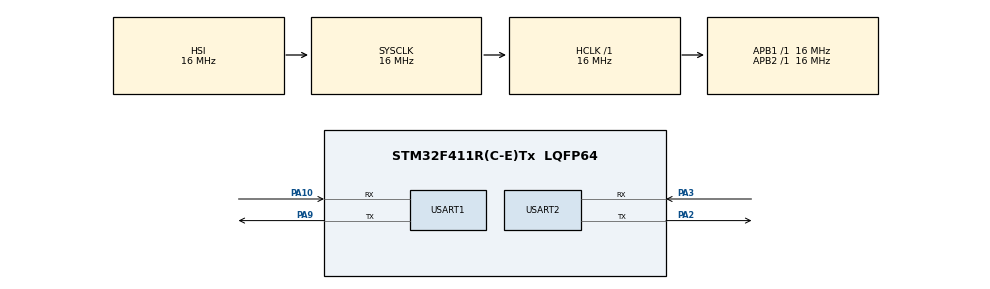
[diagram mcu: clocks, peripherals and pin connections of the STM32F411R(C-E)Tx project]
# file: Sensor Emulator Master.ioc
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Dma.Request0=USART1_RX
Dma.Request1=USART2_TX
Dma.USART1_RX.0.Direction=DMA_PERIPH_TO_MEMORY
Dma.USART1_RX.0.FIFOMode=DMA_FIFOMODE_DISABLE
Dma.USART1_RX.0.Instance=DMA2_Stream2
Dma.USART1_RX.0.MemDataAlignment=DMA_MDATAALIGN_BYTE
Dma.USART1_RX.0.MemInc=DMA_MINC_ENABLE
Dma.USART1_RX.0.Mode=DMA_NORMAL
Dma.USART1_RX.0.PeriphDataAlignment=DMA_PDATAALIGN_BYTE
Dma.USART1_RX.0.PeriphInc=DMA_PINC_DISABLE
Dma.USART1_RX.0.Priority=DMA_PRIORITY_LOW
Dma.USART2_TX.1.Direction=DMA_MEMORY_TO_PERIPH
Dma.USART2_TX.1.FIFOMode=DMA_FIFOMODE_DISABLE
Dma.USART2_TX.1.Instance=DMA1_Stream6
Dma.USART2_TX.1.MemDataAlignment=DMA_MDATAALIGN_BYTE
Dma.USART2_TX.1.MemInc=DMA_MINC_ENABLE
Dma.USART2_TX.1.Mode=DMA_NORMAL
Dma.USART2_TX.1.PeriphDataAlignment=DMA_PDATAALIGN_BYTE
Dma.USART2_TX.1.PeriphInc=DMA_PINC_DISABLE
Dma.USART2_TX.1.Priority=DMA_PRIORITY_LOW
Mcu.Family=STM32F4
Mcu.Name=STM32F411R(C-E)Tx
Mcu.Package=LQFP64
NVIC.DMA1_Stream6_IRQn=true\:0\:0\:false\:false\:true\:false\:true\:true
NVIC.DMA2_Stream2_IRQn=true\:0\:0\:false\:false\:true\:false\:true\:true
NVIC.PriorityGroup=NVIC_PRIORITYGROUP_4
NVIC.USART1_IRQn=true\:0\:0\:false\:false\:true\:true\:true\:true
PA10.Mode=Asynchronous
PA10.Signal=USART1_RX
PA2.Mode=Asynchronous
PA2.Signal=USART2_TX
PA3.Mode=Asynchronous
PA3.Signal=USART2_RX
PA9.Mode=Asynchronous
PA9.Signal=USART1_TX
ProjectManager.HeapSize=0x200
ProjectManager.StackSize=0x400
ProjectManager.TargetToolchain=STM32CubeIDE
RCC.AHBFreq_Value=16000000
RCC.APB1Freq_Value=16000000
RCC.APB2Freq_Value=16000000
RCC.CortexFreq_Value=16000000
RCC.HSE_VALUE=25000000
RCC.HSI_VALUE=16000000
RCC.LSE_VALUE=32768
RCC.SYSCLKFreq_VALUE=16000000
RCC.VCOOutputFreq_Value=192000000
USART1.VirtualMode=VM_ASYNC
USART2.VirtualMode=VM_ASYNC
board=custom

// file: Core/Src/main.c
/* USER CODE BEGIN Header */
/**
  ******************************************************************************
  * @file           : main.c
  * @brief          : Main program body
  ******************************************************************************
  * @attention
  *
  * Copyright (c) 2026 STMicroelectronics.
  * All rights reserved.
  *
  * This software is licensed under terms that can be found in the LICENSE file
  * in the root directory of this software component.
  * If no LICENSE file comes with this software, it is provided AS-IS.
  *
  ******************************************************************************
  */
/* USER CODE END Header */
#include "main.h"
#include "dma.h"
#include "usart.h"
#include "gpio.h"

/* USER CODE BEGIN Includes */
#include "stdio.h"
/* USER CODE END Includes */

/* USER CODE BEGIN PV */
#define BufferSize 50
uint8_t RxBuffer[BufferSize];

uint8_t TxBuffer[BufferSize];

uint8_t counter;

/* USER CODE END PV */

void SystemClock_Config(void);

/* USER CODE BEGIN 0 */
void HAL_UARTEx_RxEventCallback(UART_HandleTypeDef *huart, uint16_t Size)

{

	if(huart->Instance == USART1)
	{
		HAL_UART_Transmit(&huart2, RxBuffer, Size,10);
		HAL_UARTEx_ReceiveToIdle_DMA(&huart1, RxBuffer, BufferSize);

	}

}

/* USER CODE END 0 */

int main(void)
{

  /* MCU Configuration--------------------------------------------------------*/

  /* Reset of all peripherals, Initializes the Flash interface and the Systick. */
  HAL_Init();

  /* Configure the system clock */
  SystemClock_Config();

  /* Initialize all configured peripherals */
  MX_GPIO_Init();
  MX_DMA_Init();
  MX_USART1_UART_Init();
  MX_USART2_UART_Init();
  /* USER CODE BEGIN 2 */
  HAL_UARTEx_ReceiveToIdle_DMA(&huart1, RxBuffer, BufferSize);

  /* USER CODE END 2 */

  /* Infinite loop */
  while (1)
  {

    /* USER CODE BEGIN 3 */
	  uint16_t len;
	  len=sprintf(TxBuffer,"Counter value to be send is %d\r\n",counter);
	  HAL_UART_Transmit(&huart2,TxBuffer,len,100);

	  len=sprintf(TxBuffer,"Counter value = %d\r\n",counter);
	  HAL_UART_Transmit(&huart1,TxBuffer,len,100);
	  counter++;
	  HAL_Delay(500);

  }
  /* USER CODE END 3 */
}

void SystemClock_Config(void)
{
  RCC_OscInitTypeDef RCC_OscInitStruct = {0};
  RCC_ClkInitTypeDef RCC_ClkInitStruct = {0};

  /** Configure the main internal regulator output voltage
  */
  __HAL_RCC_PWR_CLK_ENABLE();
  __HAL_PWR_VOLTAGESCALING_CONFIG(PWR_REGULATOR_VOLTAGE_SCALE1);

  /** Initializes the RCC Oscillators according to the specified parameters
  * in the RCC_OscInitTypeDef structure.
  */
  RCC_OscInitStruct.OscillatorType = RCC_OSCILLATORTYPE_HSI;
  RCC_OscInitStruct.HSIState = RCC_HSI_ON;
  RCC_OscInitStruct.HSICalibrationValue = RCC_HSICALIBRATION_DEFAULT;
  RCC_OscInitStruct.PLL.PLLState = RCC_PLL_NONE;
  if (HAL_RCC_OscConfig(&RCC_OscInitStruct) != HAL_OK)
  {
    Error_Handler();
  }

  /** Initializes the CPU, AHB and APB buses clocks
  */
  RCC_ClkInitStruct.ClockType = RCC_CLOCKTYPE_HCLK|RCC_CLOCKTYPE_SYSCLK
                              |RCC_CLOCKTYPE_PCLK1|RCC_CLOCKTYPE_PCLK2;
  RCC_ClkInitStruct.SYSCLKSource = RCC_SYSCLKSOURCE_HSI;
  RCC_ClkInitStruct.AHBCLKDivider = RCC_SYSCLK_DIV1;
  RCC_ClkInitStruct.APB1CLKDivider = RCC_HCLK_DIV1;
  RCC_ClkInitStruct.APB2CLKDivider = RCC_HCLK_DIV1;

  if (HAL_RCC_ClockConfig(&RCC_ClkInitStruct, FLASH_LATENCY_0) != HAL_OK)
  {
    Error_Handler();
  }
}

void Error_Handler(void)
{
  __disable_irq();
  while (1)
  {
  }
}
